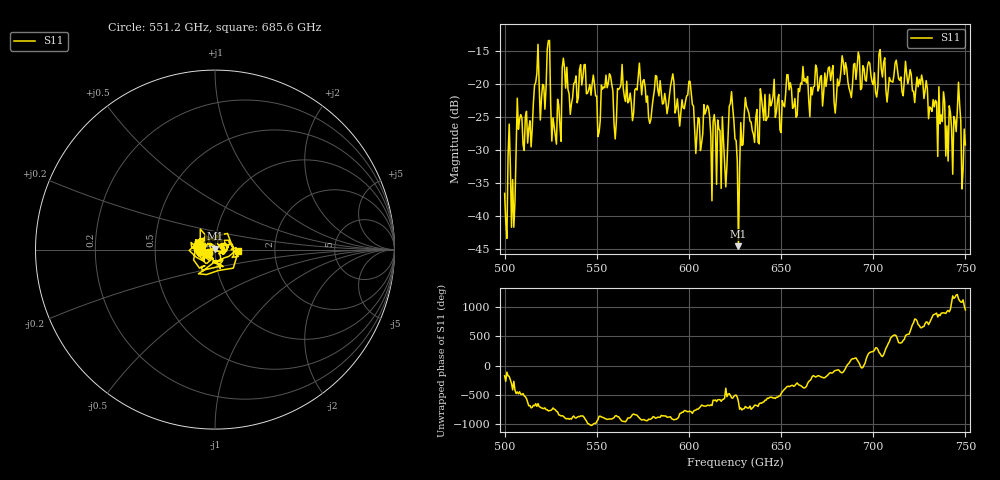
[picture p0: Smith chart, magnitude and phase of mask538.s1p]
!Created with skrf (http://scikit-rf.org).
# GHz S MA R 50.0
!freq magS11 angS11
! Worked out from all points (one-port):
!   401 points, 500 GHz to 750 GHz, reference 50 ohm
!   lowest |S11| = -44.6 dB at 626.9 GHz (marker M1), VSWR 1.01, Z = 49.9 + j0.578 ohm
!   |S11| at or under -10 dB: start of sweep to end of sweep
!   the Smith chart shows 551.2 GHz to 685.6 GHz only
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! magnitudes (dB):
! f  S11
! 500 GHz  -36.6
! 503.1 GHz  -32.5
! 505 GHz  -41.8
! 508.1 GHz  -25.4
! 513.8 GHz  -25.6
! 517.5 GHz  -18.4
! 520.6 GHz  -20.1
! 523.8 GHz  -13.4
! 526.9 GHz  -26.5
! 531.2 GHz  -17.6
! 542.5 GHz  -18.9
! 550.6 GHz  -28.0
! 562.5 GHz  -20.6
! 593.8 GHz  -22.3
! 600 GHz  -19.6
! 605 GHz  -25.1
! 609.4 GHz  -24.0
! 618.8 GHz  -28.5
! 623.1 GHz  -21.2
! 625 GHz  -28.4
! 626.9 GHz  -44.6
! 631.2 GHz  -23.4
! 656.2 GHz  -23.7
! 687.5 GHz  -21.3
! 718.8 GHz  -20.0
! 741.9 GHz  -24.4
! 746.2 GHz  -19.8
! 750 GHz  -29.3
